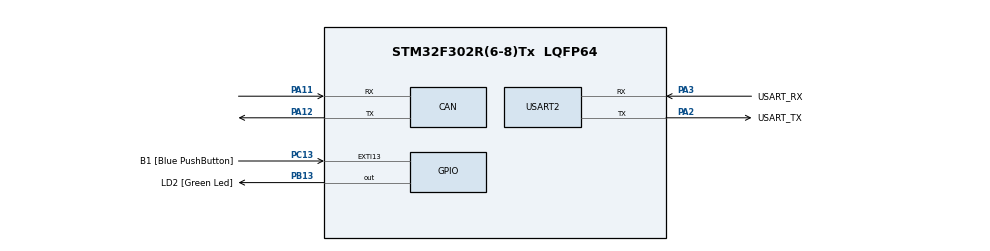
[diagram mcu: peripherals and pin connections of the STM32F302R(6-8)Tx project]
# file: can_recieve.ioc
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CAN.BS1=CAN_BS1_9TQ
CAN.BS2=CAN_BS2_8TQ
CAN.CalculateTimeQuantum=444.44444444444446
CAN.NART=ENABLE
Mcu.Family=STM32F3
Mcu.Name=STM32F302R(6-8)Tx
Mcu.Package=LQFP64
NVIC.CAN_RX1_IRQn=true\:0\:0\:false\:false\:true\:true\:true
NVIC.CAN_SCE_IRQn=true\:0\:0\:false\:false\:true\:true\:true
NVIC.PriorityGroup=NVIC_PRIORITYGROUP_0
NVIC.USB_HP_CAN_TX_IRQn=true\:0\:0\:false\:false\:true\:true\:true
NVIC.USB_LP_CAN_RX0_IRQn=true\:0\:0\:false\:false\:true\:true\:true
PA11.Mode=Master
PA11.Signal=CAN_RX
PA12.Mode=Master
PA12.Signal=CAN_TX
PA13.GPIO_Label=TMS
PA13.Mode=Serial_Wire
PA13.Signal=SYS_JTMS-SWDIO
PA14.GPIO_Label=TCK
PA14.Mode=Serial_Wire
PA14.Signal=SYS_JTCK-SWCLK
PA2.GPIO_Label=USART_TX
PA2.GPIO_Mode=GPIO_MODE_AF_PP
PA2.GPIO_PuPd=GPIO_NOPULL
PA2.GPIO_Speed=GPIO_SPEED_FREQ_LOW
PA2.Mode=Asynchronous
PA2.Signal=USART2_TX
PA3.GPIO_Label=USART_RX
PA3.GPIO_Mode=GPIO_MODE_AF_PP
PA3.GPIO_PuPd=GPIO_NOPULL
PA3.GPIO_Speed=GPIO_SPEED_FREQ_LOW
PA3.Mode=Asynchronous
PA3.Signal=USART2_RX
PB13.GPIO_Label=LD2 [Green Led]
PB13.Signal=GPIO_Output
PB3.GPIO_Label=SWO
PB3.Mode=Trace_Asynchronous_SW
PB3.Signal=SYS_JTDO-TRACESWO
PC13.GPIO_Label=B1 [Blue PushButton]
PC13.GPIO_ModeDefaultEXTI=GPIO_MODE_IT_FALLING
PC13.Signal=GPXTI13
PC14\ -\ OSC32_IN.Mode=LSE-External-Oscillator
PC14\ -\ OSC32_IN.Signal=RCC_OSC32_IN
PC15\ -\ OSC32_OUT.Mode=LSE-External-Oscillator
PC15\ -\ OSC32_OUT.Signal=RCC_OSC32_OUT
PF0-OSC_IN.Mode=HSE-External-Clock-Source
PF0-OSC_IN.Signal=RCC_OSC_IN
PF1-OSC_OUT.Signal=RCC_OSC_OUT
ProjectManager.HeapSize=0x200
ProjectManager.StackSize=0x400
ProjectManager.TargetToolchain=TrueSTUDIO
RCC.AHBFreq_Value=72000000
RCC.APB1CLKDivider=RCC_HCLK_DIV2
RCC.APB1Freq_Value=36000000
RCC.APB1TimFreq_Value=72000000
RCC.APB2Freq_Value=72000000
RCC.APB2TimFreq_Value=72000000
RCC.CortexFreq_Value=72000000
RCC.HCLKFreq_Value=72000000
RCC.HSE_VALUE=8000000
RCC.HSI_VALUE=8000000
RCC.PLLM=8
RCC.PLLMUL=RCC_PLL_MUL9
RCC.PLLN=336
RCC.PLLP=RCC_PLLP_DIV4
RCC.PLLQ=7
RCC.PLLSourceVirtual=RCC_PLLSOURCE_HSE
RCC.SYSCLKFreq_VALUE=72000000
RCC.SYSCLKSourceVirtual=RCC_SYSCLKSOURCE_PLLCLK
RCC.USBFreq_Value=72000000
USART2.VirtualMode-Asynchronous=VM_ASYNC
board=NUCLEO-F302R8

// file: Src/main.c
/* USER CODE BEGIN Header */
/**
 ******************************************************************************
 * @file           : main.c
 * @brief          : Main program body
 ******************************************************************************
 * @attention
 *
 * <h2><center>&copy; Copyright (c) 2020 STMicroelectronics.
 * All rights reserved.</center></h2>
 *
 * This software component is licensed by ST under BSD 3-Clause license,
 * the "License"; You may not use this file except in compliance with the
 * License. You may obtain a copy of the License at:
 *                        opensource.org/licenses/BSD-3-Clause
 *
 ******************************************************************************
 */
/* USER CODE END Header */

#include "main.h"
#include "can.h"
#include "usart.h"
#include "gpio.h"

/* USER CODE BEGIN Includes */
#include <stdio.h>
#include <stdlib.h>
#include <stdbool.h>
#include <string.h>
#include <math.h>

/* USER CODE END Includes */

/* USER CODE BEGIN PD */
#define isSet(val, bit_no) (((val) >> (bit_no)) & 1)
/* USER CODE END PD */

/* USER CODE BEGIN PV */
// CAN Message variables

CAN_TxHeaderTypeDef TxHeader;
CAN_RxHeaderTypeDef RxHeader;

uint8_t RxData[8];
uint32_t TxMailbox;

uint8_t result;

uint8_t heartbeat[1];
uint8_t sourceID[1];
uint8_t autonomous[1];
uint8_t messageType[1];
uint8_t extraID[1];

uint8_t extID[4];

uint8_t dataLength;
uint8_t data[8];
uint8_t TxData[8];

const bool sender = true;

// UART char buffer
char msg[140];

/* USER CODE END PV */

void SystemClock_Config(void);
/* USER CODE BEGIN PFP */
//CALL BACK
void HAL_CAN_RxFifo0MsgPendingCallback(CAN_HandleTypeDef *hcan);
void HAL_UART_RxCpltCallback(UART_HandleTypeDef *huart);

//USART IRQ handler
void USART2_IRQHandler(void);

//Convert to actual value
double To_Decimal(uint8_t input);
/* USER CODE END PFP */

int main(void) {

	/* MCU Configuration--------------------------------------------------------*/

	/* Reset of all peripherals, Initializes the Flash interface and the Systick. */
	HAL_Init();

	/* Configure the system clock */
	SystemClock_Config();

	/* Initialize all configured peripherals */
	MX_GPIO_Init();
	MX_CAN_Init();
	MX_USART2_UART_Init();
	/* USER CODE BEGIN 2 */

	// Confirm startup to terminal
//	snprintf(msg, sizeof(msg) - 1, "Initialization Succeed!!\r\n");
//	printf("hi there!");
//	HAL_UART_Transmit(&huart2, (uint8_t*) msg, strlen(msg), HAL_MAX_DELAY);

	/* USER CODE END 2 */

	/* Infinite loop */
	/* USER CODE BEGIN WHILE */
	while (1) {

		if(sender){

////		snprintf(msg, sizeof(msg) - 1, "Input the external ID here! \r\n");
////		HAL_UART_Transmit(&huart2, (uint8_t*) msg, strlen(msg), HAL_MAX_DELAY);
////		snprintf(msg, sizeof(msg) - 1, "\r\n");
////		HAL_UART_Transmit(&huart2, (uint8_t*) msg, strlen(msg), HAL_MAX_DELAY);
//
//		//input heartbeat
////		snprintf(msg, sizeof(msg) - 1, "Heart is turned on? (0/1):");
////		HAL_UART_Transmit(&huart2, (uint8_t*) msg, strlen(msg), HAL_MAX_DELAY);
//		HAL_UART_Receive(&huart2, (uint8_t*)heartbeat, 1, HAL_MAX_DELAY);
////		heartbeat[0] = To_Decimal(heartbeat[0]);
////		snprintf(msg, sizeof(msg) - 1, "\r\n");
////		HAL_UART_Transmit(&huart2, (uint8_t*) msg, strlen(msg), HAL_MAX_DELAY);
//
//		//input source ID
////		snprintf(msg, sizeof(msg) - 1, "Source ID (in hexadecimal): 0x");
////		HAL_UART_Transmit(&huart2, (uint8_t*) msg, strlen(msg), HAL_MAX_DELAY);
//		HAL_UART_Receive(&huart2, (uint8_t*)sourceID, 1, HAL_MAX_DELAY);
////		long int hexSourceID;
////		hexSourceID = 0;
////		for (int i = 0; i < 2; i++){
////			//sourceID[i] = To_Decimal(sourceID[i]);
////			hexSourceID = hexSourceID + sourceID[i] * pow(16,(2 - i));
////		}
////		snprintf(msg, sizeof(msg) - 1, "\r\n");
////		HAL_UART_Transmit(&huart2, (uint8_t*) msg, strlen(msg), HAL_MAX_DELAY);
//
//		//input autonomous
////		snprintf(msg, sizeof(msg) - 1, "Autonomous is turned on? (0/1): ");
////		HAL_UART_Transmit(&huart2, (uint8_t*) msg, strlen(msg), HAL_MAX_DELAY);
//		HAL_UART_Receive(&huart2, (uint8_t*)autonomous, 1, HAL_MAX_DELAY);
////		autonomous[0] = To_Decimal(autonomous[0]);
////		snprintf(msg, sizeof(msg) - 1, "\r\n");
////		HAL_UART_Transmit(&huart2, (uint8_t*) msg, strlen(msg), HAL_MAX_DELAY);
//
//		//input message types
////		snprintf(msg, sizeof(msg) - 1, "Message Type (in hexadecimal): 0x");
////		HAL_UART_Transmit(&huart2, (uint8_t*) msg, strlen(msg), HAL_MAX_DELAY);
//		HAL_UART_Receive(&huart2, (uint8_t*)messageType, 1, HAL_MAX_DELAY);
////		messageType[0] = To_Decimal(messageType[0]);
////		snprintf(msg, sizeof(msg) - 1, "\r\n");
////		HAL_UART_Transmit(&huart2, (uint8_t*) msg, strlen(msg), HAL_MAX_DELAY);
//
//		//input extra ID
////		snprintf(msg, sizeof(msg) - 1, "Extra ID (in hexadecimal): 0x");
////		HAL_UART_Transmit(&huart2, (uint8_t*) msg, strlen(msg), HAL_MAX_DELAY);
//		HAL_UART_Receive(&huart2, (uint8_t*)extraID, 1, HAL_MAX_DELAY);
////		long int hexExtraID;
////		hexExtraID = 0;
////		for (int i = 0; i < 2; i++){
//////			extraID[i] = To_Decimal(extraID[i]);
////			hexExtraID = hexExtraID + extraID[i] * pow(16,(3 - i));
////		}
////		snprintf(msg, sizeof(msg) - 1, "\r\n");
////		HAL_UART_Transmit(&huart2, (uint8_t*) msg, strlen(msg), HAL_MAX_DELAY);
//
//		//input the data length
////		snprintf(msg, sizeof(msg) - 1, "Input the data length: ");
////		HAL_UART_Transmit(&huart2, (uint8_t*) msg, strlen(msg), HAL_MAX_DELAY);
//		HAL_UART_Receive(&huart2, &dataLength, 1, HAL_MAX_DELAY);
////		dataLength[0] = To_Decimal(dataLength[0]);
////		snprintf(msg, sizeof(msg) - 1, "\r\n");
////		HAL_UART_Transmit(&huart2, (uint8_t*) msg, strlen(msg), HAL_MAX_DELAY);
//
//		//input data
////		snprintf(msg, sizeof(msg) - 1, "Input the data! \r\n ");
////		HAL_UART_Transmit(&huart2, (uint8_t*) msg, strlen(msg), HAL_MAX_DELAY);
//		for (int i = 0; i < dataLength; i++){
////			snprintf(msg, sizeof(msg) - 1, "Data[%d]: ",i);
////			HAL_UART_Transmit(&huart2, (uint8_t*) msg, strlen(msg), HAL_MAX_DELAY);
//			HAL_UART_Receive(&huart2, (uint8_t*)data, 1, HAL_MAX_DELAY);
//			TxData[i] = data[0];
////			for (int j = 0; j < 2; j++){
////				data[j] = To_Decimal(data[j]);
////				TxData[i] = TxData[i] + data[j] * pow(16,(1-j));
////			}
////		snprintf(msg, sizeof(msg) - 1, "\r\n ");
////		HAL_UART_Transmit(&huart2, (uint8_t*) msg, strlen(msg), HAL_MAX_DELAY);
//		}

		HAL_UART_Receive(&huart2, (uint8_t*)extID, 4, HAL_MAX_DELAY);

		//sending the message
//		TxHeader.ExtId = (heartbeat[0] << 27) + (sourceID[0] << 19) + (autonomous[0] << 18) + (messageType[0] << 15) + extraID[0];
		TxHeader.ExtId = (extID[0] << 24) + (extID[1] << 16) + (extID[2] << 8) + (extID[3]);

		HAL_UART_Receive(&huart2, &dataLength, 1, HAL_MAX_DELAY);

		HAL_UART_Receive(&huart2, (uint8_t*)TxData, dataLength, HAL_MAX_DELAY);

		TxHeader.RTR = CAN_RTR_DATA;
		TxHeader.IDE = CAN_ID_EXT;
		TxHeader.DLC = dataLength;
		TxHeader.TransmitGlobalTime = DISABLE;

			// Request transmisison
			if (HAL_CAN_AddTxMessage(&hcan, &TxHeader, TxData, &TxMailbox)
					!= HAL_OK) {
				Error_Handler();
			}

//			snprintf(msg, sizeof(msg) - 1, "byte 0:  %d\r\n", TxData[0]);
//			HAL_UART_Transmit(&huart2, (uint8_t*) msg, strlen(msg),
//					HAL_MAX_DELAY);
		}
	}
	HAL_Delay(1000);
		/* USER CODE END WHILE */
}
		 //Blocking delay for main loop
	/* USER CODE END 3 */

void SystemClock_Config(void) {
	RCC_OscInitTypeDef RCC_OscInitStruct = { 0 };
	RCC_ClkInitTypeDef RCC_ClkInitStruct = { 0 };

	/** Initializes the CPU, AHB and APB busses clocks
	 */
	RCC_OscInitStruct.OscillatorType = RCC_OSCILLATORTYPE_HSI;
	RCC_OscInitStruct.HSIState = RCC_HSI_ON;
	RCC_OscInitStruct.HSICalibrationValue = RCC_HSICALIBRATION_DEFAULT;
	RCC_OscInitStruct.PLL.PLLState = RCC_PLL_NONE;
	if (HAL_RCC_OscConfig(&RCC_OscInitStruct) != HAL_OK) {
		Error_Handler();
	}
	/** Initializes the CPU, AHB and APB busses clocks
	 */
	RCC_ClkInitStruct.ClockType = RCC_CLOCKTYPE_HCLK | RCC_CLOCKTYPE_SYSCLK
			| RCC_CLOCKTYPE_PCLK1 | RCC_CLOCKTYPE_PCLK2;
	RCC_ClkInitStruct.SYSCLKSource = RCC_SYSCLKSOURCE_HSI;
	RCC_ClkInitStruct.AHBCLKDivider = RCC_SYSCLK_DIV1;
	RCC_ClkInitStruct.APB1CLKDivider = RCC_HCLK_DIV1;
	RCC_ClkInitStruct.APB2CLKDivider = RCC_HCLK_DIV1;

	if (HAL_RCC_ClockConfig(&RCC_ClkInitStruct, FLASH_LATENCY_0) != HAL_OK) {
		Error_Handler();
	}
}

/* USER CODE BEGIN 4 */

//convert ASCII value to actual value
double To_Decimal(uint8_t input){
	if (input >= 48 && input <= 57){
		result = input - 48;
	}
	else if (input >= 65 && input <= 70){
		result = input - 55;
	}
	else {
		result = 0;
	}
	return result;
}

// Override weak-ass function from stm32l4xx_hal_can.c
/**
 * @brief System Clock Configuration
 * @retval None
 */
void HAL_CAN_RxFifo0MsgPendingCallback(CAN_HandleTypeDef *hcan) {
	// called when there's a message waiting in the FIFO RX buffer

		if (HAL_CAN_GetRxMessage(hcan, CAN_RX_FIFO0, &RxHeader, RxData) != HAL_OK) {
		/* Reception Error */
		Error_Handler();
	} else {
		// message read successfully

		// Print ID and first data byte to serial
		snprintf(msg, sizeof(msg) - 1,
				"Extended ID: 0x%lX  Data[0]: 0x%X  Data[1]: 0x%X Data[2]: 0x%X Data[3]: 0x%X Data[4]: 0x%X Data[5]: 0x%X Data[6]: 0x%X Data[7]: 0x%X\r\n",
				 RxHeader.ExtId, RxData[0], RxData[1], RxData[2], RxData[3], RxData[4], RxData[5], RxData[6], RxData[7]);
		uint8_t datamsg[13];
		datamsg[0] = RxHeader.ExtId; // bits[7:0]
		datamsg[1] = RxHeader.ExtId >> 8; // bits[15:8]
		datamsg[2] = RxHeader.ExtId >> 16; // bits[23:16]
		datamsg[3] = RxHeader.ExtId >> 24; // bits[31:24]
		datamsg[4] = RxHeader.DLC;
		for (int i =0; i < RxHeader.DLC; i++) {
			datamsg[5+i] = RxData[i];
		}

		if (HAL_UART_Transmit(&huart2, datamsg, 5 + RxHeader.DLC,
		HAL_MAX_DELAY) != HAL_OK) {

			Error_Handler();
		}

//		if (HAL_UART_Transmit(&huart2, (uint8_t*) msg, strlen(msg),
//		HAL_MAX_DELAY) != HAL_OK) {
//
//			Error_Handler();
//		}
	}
}

// Handle CAN Rx fifo callback (cannot test in loopback mode)
// Overrides stm32l4xx_hal_can.c
void HAL_CAN_RxFifo0FullCallback(CAN_HandleTypeDef *hcan) {
	char msg[80];

	snprintf(msg, sizeof(msg) - 1, "RX FIFO0 Full callback\r\n");
	HAL_UART_Transmit(&huart2, (uint8_t*) msg, strlen(msg), HAL_MAX_DELAY);
}

const char* getSourceID()
{
	int value = (RxHeader.ExtId << 3) >> (3 + 19);
	if (0 <= value && value <= 3)
	{
		return "External Master";
	}
	if (4 <= value && value <= 5)
	{
		return "Chassis Controller";
	}
	if (6 <= value && value <= 7)
	{
		return "AMS";
	}
	if (8 <= value && value <= 11)
	{
		return "Shutdown";
	}
	if (12 <= value && value <= 13)
	{
		return "Shutdown - BPSD";
	}
	if (14 <= value && value <= 15)
	{
		return "Shutdown - Current";
	}
	if (16 <= value && value <= 17)
	{
		return "PDM";
	}
	if (18 <= value && value <= 19)
	{
		return "Steering Wheel";
	}
	if (20 <= value && value <= 21)
	{
		return "Dashboard";
	}
	if (22 <= value && value <= 23)
	{
		return "BMS";
	}
	if (24 <= value && value <= 25)
	{
		return "IMD";
	}
	if (26 <= value && value <= 27)
	{
		return "Sensors";
	}
	if (32 <= value && value <= 28)
	{
		return "Sensors";
	}
	else
	{
		return "Reserved";
	}
	return "0";
}

/* USER CODE END 4 */

void Error_Handler(void) {
	/* USER CODE BEGIN Error_Handler_Debug */
	/* User can add his own implementation to report the HAL error return state */

	uint32_t error = HAL_CAN_GetError(&hcan);

	snprintf(msg, sizeof(msg) - 1, "error: %ld\r\n", error);
	HAL_UART_Transmit(&huart2, (uint8_t*) msg, strlen(msg), HAL_MAX_DELAY);

	/* USER CODE END Error_Handler_Debug */
}

void USART2_IRQHandler(void)
{
  HAL_UART_IRQHandler(&huart2);
}

/************************ (C) COPYRIGHT STMicroelectronics *****END OF FILE****/
